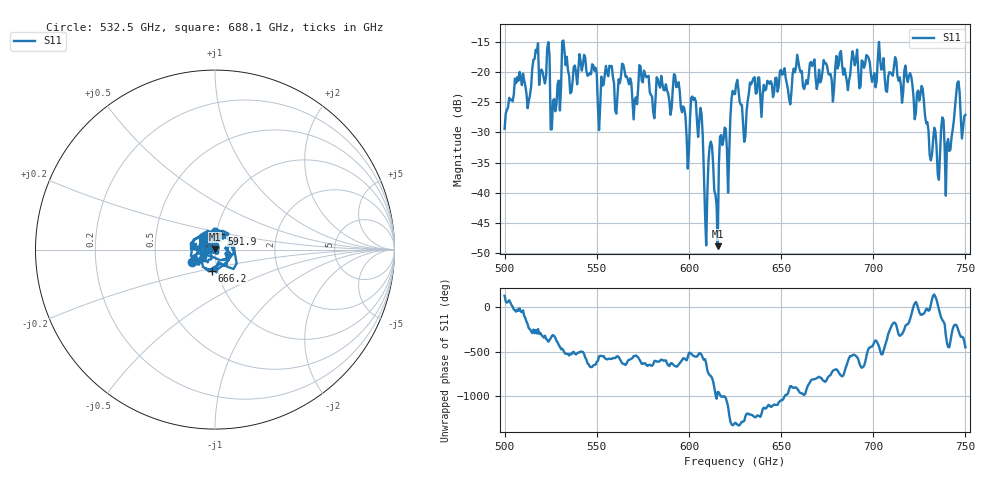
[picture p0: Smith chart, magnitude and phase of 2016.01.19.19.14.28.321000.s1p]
!Created with skrf (http://scikit-rf.org).
# GHz S RI R 50.0
!freq ReS11 ImS11
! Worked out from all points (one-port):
!   401 points, 500 GHz to 750 GHz, reference 50 ohm
!   lowest |S11| = -48.9 dB at 615.6 GHz (marker M1), VSWR 1.01, Z = 49.8 + j0.276 ohm
!   |S11| at or under -10 dB: start of sweep to end of sweep
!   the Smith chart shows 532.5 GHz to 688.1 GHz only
!   S11 on the Smith chart (normalised r, x): 532.5 GHz: 0.76, -0.11; 591.9 GHz: 1.06, +0.19; 666.2 GHz: 0.94, -0.23; 688.1 GHz: 0.78, +0.03
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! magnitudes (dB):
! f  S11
! 500 GHz  -29.4
! 516.9 GHz  -16.3
! 523.1 GHz  -16.0
! 526.2 GHz  -24.7
! 531.2 GHz  -14.9
! 532.5 GHz  -16.6
! 551.9 GHz  -25.6
! 562.5 GHz  -21.8
! 591.9 GHz  -20.4
! 593.8 GHz  -22.4
! 598.8 GHz  -30.7
! 602.5 GHz  -24.6
! 606.2 GHz  -25.9
! 609.4 GHz  -48.7
! 611.9 GHz  -31.5
! 615.6 GHz  -48.9
! 625 GHz  -23.7
! 630 GHz  -31.6
! 634.4 GHz  -21.5
! 656.2 GHz  -20.4
! 666.2 GHz  -18.3
! 687.5 GHz  -20.5
! 688.1 GHz  -18.2
! 718.8 GHz  -21.7
! 735 GHz  -37.0
! 740.6 GHz  -31.1
! 745.6 GHz  -21.8
! 750 GHz  -27.1
